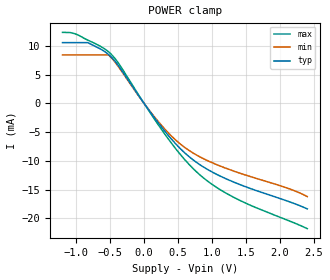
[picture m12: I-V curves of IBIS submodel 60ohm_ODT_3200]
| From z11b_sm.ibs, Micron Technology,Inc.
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| SUBMODEL 60ohm_ODT_3200
[Submodel]   60ohm_ODT_3200
Submodel_type  Dynamic_clamp
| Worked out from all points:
|   POWER clamp passes 1 mA (typ) near -0.06 V on its own axis
[POWER Clamp]
|   Voltage   I(typ)   I(min)   I(max)
-1.2V     10.59mA    8.445mA    12.36mA
-1.045V   10.59mA    8.445mA    12.22mA
-830mV    10.59mA    8.445mA    11.02mA
-515mV    8.434mA    8.341mA    8.897mA
-370mV    6.438mA    6.267mA    6.886mA
0V        51.68nA    48.39nA    53.27nA
310mV     -4.9mA     -4.531mA   -5.424mA
570mV     -8.284mA   -7.406mA   -9.394mA
855mV     -10.92mA   -9.496mA   -12.77mA
1.15V     -12.8mA    -11.03mA   -15.22mA
1.43V     -14.2mA    -12.21mA   -16.98mA
2.4V      -18.34mA   -16.19mA   -21.77mA
